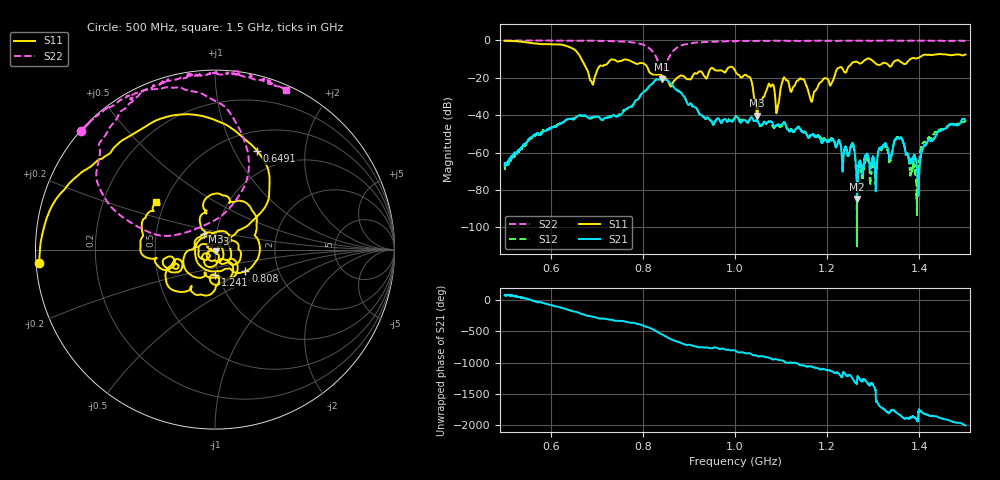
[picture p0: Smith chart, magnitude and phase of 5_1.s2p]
!Agilent Technologies,E8364B,US42250235,A.06.04.32
!Agilent E8364B: A.06.04.32
!Date: Thursday, October 01, 2020 10:59:31
!Correction: S11(Full 2 Port(1,2)) S21(Full 2 Port(1,2)) S12(Full 2 Port(1,2)) S22(Full 2 Port(1,2))
!S2P File: Measurements: S11, S21, S12, S22:
# Hz S  dB  R 50
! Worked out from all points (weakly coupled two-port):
!   2650 points, 500 MHz to 1.5 GHz, reference 50 ohm
!   highest |S21| = -20.72 dB at 840.9 MHz (marker M1); lowest = -84.9 dB at 1.265 GHz (marker M2)
!   lowest |S11| = -40.3 dB at 1.048 GHz (marker M3), VSWR 1.02, Z = 50.3 - j0.926 ohm
!   |S11| at or under -10 dB: 666.5 MHz to 1.285 GHz (618.9 MHz wide, 63.4 % of centre); 1.294 GHz to 1.38 GHz (86.46 MHz wide, 6.47 % of centre)
!   |S22| runs from -16.6 to 0.0 dB; largest |S21 - S12| = 0.0045
!   S11 on the Smith chart (normalised r, x): 500 MHz: 0.01, -0.04; 649.1 MHz: 0.73, +1.24; 808 MHz: 1.36, -0.34; 1.03 GHz: 0.87, +0.15; 1.241 GHz: 0.97, -0.28; 1.5 GHz: 0.45, +0.29
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5e8  -0.16 -175.6  -65.85 81.5  -68.02 85.6  -0.05 138.4
6.491129e8  -4.47 66.8  -42.22 -176.9  -41.67 179.0  -0.12 122.3
6.668554e8  -10.14 38.6  -40.15 141.7  -40.36 137.2  -0.15 119.8
6.895055e8  -22.53 71.2  -41.18 102.5  -41.57 100.4  -0.13 118.5
8.080408e8  -13.64 -35.4  -26.49 -65.0  -26.17 -65.7  -3.16 79.2
8.337108e8  -18.16 -107.6  -20.94 -156.8  -20.91 -158.9  -11.70 69.4
8.408834e8  -18.71 -158.3  -20.72 175.9  -20.69 174.9  -16.12 95.9
8.861835e8  -18.85 49.2  -29.14 24.0  -29.30 25.1  -2.44 150.2
1.000189e9  -16.09 -176.1  -41.22 -87.6  -40.94 -83.4  -0.37 116.4
1.030011e9  -19.37 125.9  -43.07 -127.7  -43.19 -128.8  -0.25 113.7
1.048131e9  -40.32 -72.8  -42.82 -173.7  -42.98 -175.0  -0.23 110.7
1.077199e9  -24.74 -91.7  -43.28 147.6  -44.08 143.8  -0.21 107.4
1.092299e9  -36.38 -86.0  -45.08 128.8  -45.51 128.0  -0.24 107.3
1.108154e9  -20.13 -125.1  -44.08 90.4  -44.67 96.4  -0.20 105.8
1.166667e9  -32.77 160.3  -50.69 14.3  -50.60 16.1  -0.10 99.0
1.240657e9  -17.08 -88.9  -57.54 -119.9  -57.38 -119.9  -0.17 91.6
1.264817e9  -11.42 -118.3  -84.93 156.4  -85.44 -41.0  -0.15 90.3
1.333522e9  -13.33 -165.8  -60.10 -7.5  -61.31 -4.9  -0.05 82.1
1.358815e9  -11.32 -171.0  -52.34 -45.6  -52.27 -56.0  -0.11 82.4
1.393922e9  -9.58 -171.2  -64.69 -110.6  -85.08 -112.7  -0.23 76.1
1.4094e9  -7.67 -178.0  -56.86 -17.4  -54.45 -22.8  -0.10 74.7
1.5e9  -7.54 141.1  -42.89 149.8  -43.77 138.8  -0.21 66.0
